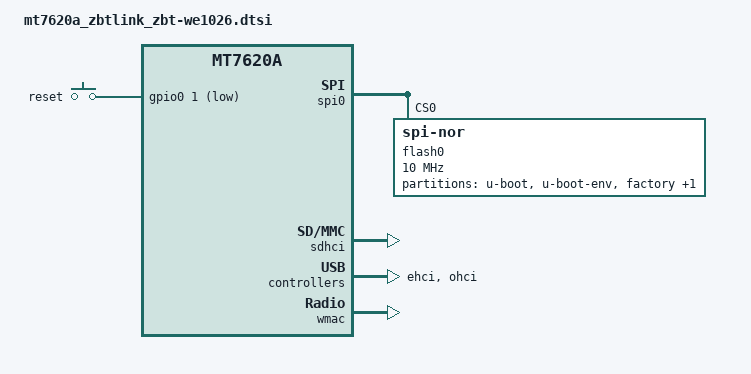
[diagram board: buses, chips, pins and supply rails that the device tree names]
// SPDX-License-Identifier: GPL-2.0-or-later OR MIT

#include "mt7620a.dtsi"

#include <dt-bindings/gpio/gpio.h>
#include <dt-bindings/input/input.h>

/ {
	compatible = "zbtlink,zbt-we1026", "ralink,mt7620a-soc";

	chosen {
		bootargs = "console=ttyS0,115200";
	};

	keys {
		compatible = "gpio-keys";

		reset {
			label = "reset";
			gpios = <&gpio0 1 GPIO_ACTIVE_LOW>;
			linux,code = <KEY_RESTART>;
		};
	};

	aliases {
		label-mac-device = &wmac;
	};
};

&spi0 {
	status = "okay";

	flash0: flash@0 {
		compatible = "jedec,spi-nor";
		reg = <0>;
		spi-max-frequency = <10000000>;

		partitions {
			compatible = "fixed-partitions";
			#address-cells = <1>;
			#size-cells = <1>;

			partition@0 {
				label = "u-boot";
				reg = <0x0 0x30000>;
				read-only;
			};

			partition@30000 {
				label = "u-boot-env";
				reg = <0x30000 0x10000>;
				read-only;
			};

			partition@40000 {
				label = "factory";
				reg = <0x40000 0x10000>;
				read-only;

				nvmem-layout {
					compatible = "fixed-layout";
					#address-cells = <1>;
					#size-cells = <1>;

					eeprom_factory_0: eeprom@0 {
						reg = <0x0 0x200>;
					};

					eeprom_factory_8000: eeprom@8000 {
						reg = <0x8000 0x200>;
					};

					macaddr_factory_28: macaddr@28 {
						reg = <0x28 0x6>;
					};
				};
			};

			firmware: partition@50000 {
				compatible = "denx,uimage";
				label = "firmware";
			};
		};
	};
};

&gpio2 {
	status = "okay";
};

&gpio3 {
	status = "okay";
};

&sdhci {
	status = "okay";
};

&ehci {
	status = "okay";
};

&ohci {
	status = "okay";
};

&ethernet {
	nvmem-cells = <&macaddr_factory_28>;
	nvmem-cell-names = "mac-address";
};

&wmac {
	nvmem-cells = <&eeprom_factory_0>;
	nvmem-cell-names = "eeprom";
};

&state_default {
	default {
		groups = "i2c", "uartf", "spi refclk", "ephy", "wled";
		function = "gpio";
	};
};
